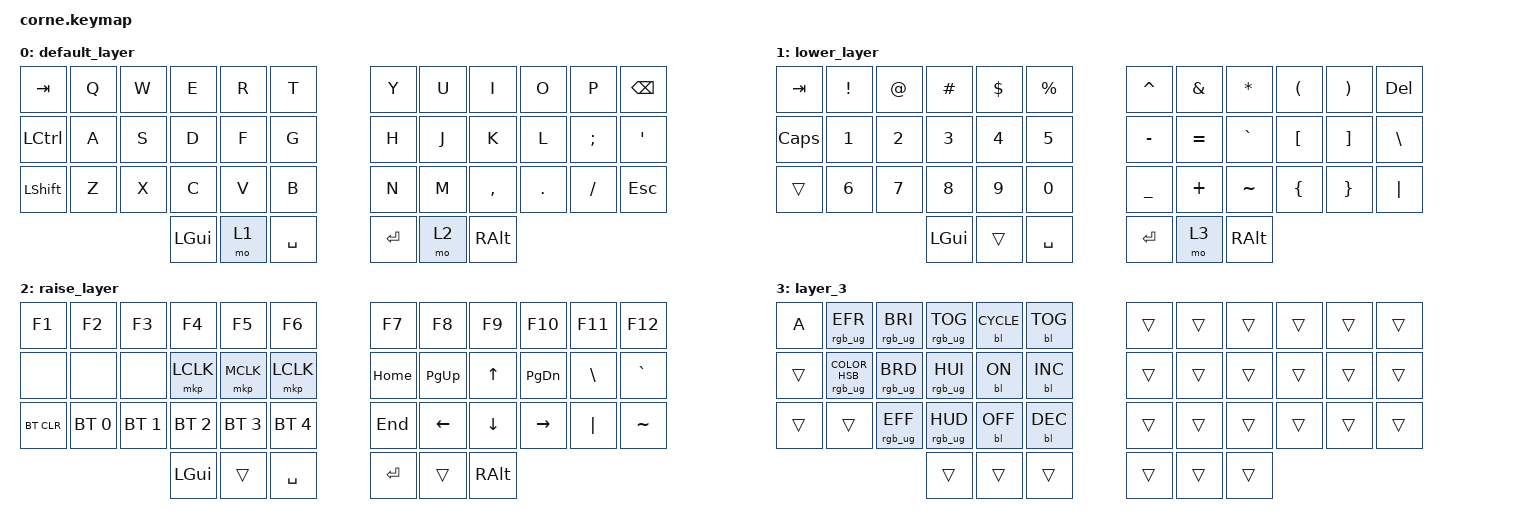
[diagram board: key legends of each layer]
/*
 * Copyright (c) 2020 The ZMK Contributors
 *
 * SPDX-License-Identifier: MIT
 */

#include <behaviors.dtsi>
#include <dt-bindings/zmk/backlight.h>
#include <dt-bindings/zmk/bt.h>
#include <dt-bindings/zmk/keys.h>
#include <dt-bindings/zmk/mouse.h>
#include <dt-bindings/zmk/rgb.h>

/ {
    keymap {
        compatible = "zmk,keymap";

        default_layer {
            // -----------------------------------------------------------------------------------------
            // |  TAB |  Q  |  W  |  E  |  R  |  T  |   |  Y  |  U   |  I  |  O  |  P  | BKSP |
            // | CTRL |  A  |  S  |  D  |  F  |  G  |   |  H  |  J   |  K  |  L  |  ;  |  '   |
            // | SHFT |  Z  |  X  |  C  |  V  |  B  |   |  N  |  M   |  ,  |  .  |  /  | ESC  |
            //                    | GUI | LWR | SPC |   | ENT | RSE  | ALT |

            bindings = <
&kp TAB         &kp Q  &kp W  &kp E     &kp R  &kp T        &kp Y    &kp U  &kp I      &kp O    &kp P     &kp BSPC
&kp LCTRL       &kp A  &kp S  &kp D     &kp F  &kp G        &kp H    &kp J  &kp K      &kp L    &kp SEMI  &kp SQT
&kp LEFT_SHIFT  &kp Z  &kp X  &kp C     &kp V  &kp B        &kp N    &kp M  &kp COMMA  &kp DOT  &kp FSLH  &kp ESC
                              &kp LGUI  &mo 1  &kp SPACE    &kp RET  &mo 2  &kp RALT
            >;
        };

        lower_layer {
            // -----------------------------------------------------------------------------------------
            // |  TAB |  1  |  2  |  3  |  4  |  5  |   |  6  |  7  |  8  |  9  |  0  | BKSP |
            // | BTCLR| BT1 | BT2 | BT3 | BT4 | BT5 |   | LFT | DWN |  UP | RGT |     |      |
            // | SHFT |     |     |     |     |     |   |     |     |     |     |     |      |
            //                    | GUI |     | SPC |   | ENT |     | ALT |

            bindings = <
&kp TAB   &kp EXCLAMATION  &kp AT_SIGN   &kp HASH      &kp DLLR      &kp PERCENT    &kp CARET       &kp AMPERSAND  &kp ASTERISK  &kp LEFT_PARENTHESIS  &kp RIGHT_PARENTHESIS  &kp DEL
&kp CAPS  &kp NUMBER_1     &kp NUMBER_2  &kp NUMBER_3  &kp NUMBER_4  &kp N5         &kp MINUS       &kp EQUAL      &kp GRAVE     &kp LEFT_BRACKET      &kp RIGHT_BRACKET      &kp BSLH
&trans    &kp N6           &kp N7        &kp N8        &kp N9        &kp N0         &kp UNDERSCORE  &kp PLUS       &kp TILDE     &kp LEFT_BRACE        &kp RIGHT_BRACE        &kp PIPE
                                         &kp LGUI      &trans        &kp SPACE      &kp RET         &mo 3          &kp RALT
            >;
        };

        raise_layer {
            // -----------------------------------------------------------------------------------------
            // |  TAB |  !  |  @  |  #  |  $  |  %  |   |  ^  |  &  |  *  |  (  |  )  | BKSP |
            // | CTRL |     |     |     |     |     |   |  -  |  =  |  [  |  ]  |  \  |  `   |
            // | SHFT |     |     |     |     |     |   |  _  |  +  |  {  |  }  | "|" |  ~   |
            //                    | GUI |     | SPC |   | ENT |     | ALT |

            bindings = <
&kp F1      &kp F2        &kp F3        &kp F4        &kp F5        &kp F6          &kp F7    &kp F8       &kp F9    &kp F10        &kp F11   &kp F12
&none       &none         &none         &mkp LCLK     &mkp MCLK     &mkp LCLK       &kp HOME  &kp PAGE_UP  &kp UP    &kp PAGE_DOWN  &kp BSLH  &kp GRAVE
&bt BT_CLR  &bt BT_SEL 0  &bt BT_SEL 1  &bt BT_SEL 2  &bt BT_SEL 3  &bt BT_SEL 4    &kp END   &kp LEFT     &kp DOWN  &kp RIGHT      &kp PIPE  &kp TILDE
                                        &kp LGUI      &trans        &kp SPACE       &kp RET   &trans       &kp RALT
            >;
        };

        layer_3 {
            bindings = <
&kp A   &rgb_ug RGB_EFR                    &rgb_ug RGB_BRI  &rgb_ug RGB_TOG  &bl BL_CYCLE  &bl BL_TOG    &trans  &trans  &trans  &trans  &trans  &trans
&trans  &rgb_ug RGB_COLOR_HSB(256,100,54)  &rgb_ug RGB_BRD  &rgb_ug RGB_HUI  &bl BL_ON     &bl BL_INC    &trans  &trans  &trans  &trans  &trans  &trans
&trans  &trans                             &rgb_ug RGB_EFF  &rgb_ug RGB_HUD  &bl BL_OFF    &bl BL_DEC    &trans  &trans  &trans  &trans  &trans  &trans
                                                            &trans           &trans        &trans        &trans  &trans  &trans
            >;
        };
    };
};
